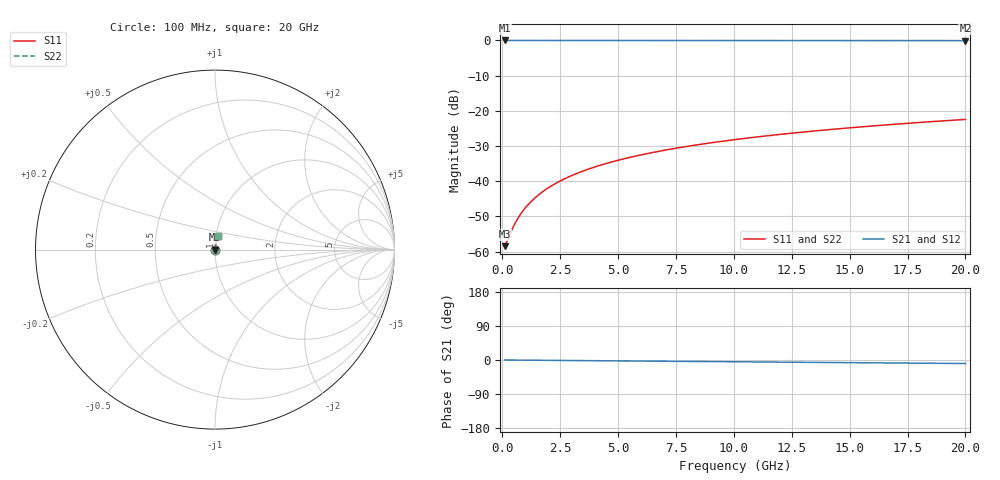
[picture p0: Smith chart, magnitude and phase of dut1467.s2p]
! Touchstone file exported from HFSS 2026.1.0
!  File:  C:/ffzhzh/LocalFiles/Ansys_Project_Files/temp_train_TSV_1467_1783198264_55132.aedt
!  Generated:  04:53:11 AM Jul  5, 2026
!  Design:  TSV
!  Project:  temp_train_TSV_1467_1783198264_55132
! Variables:
!  h_bsmrdl = 2um
!  h_ox = 20um
!  h_rdl = 5um
!  h_sub = 85.99um
!  h_tmrdl = 5um
!  h_tsv = 85.99um
!  h_via = 3um
!  l_bsmrdl = 300um
!  l_sub = 405.98um
!  l_tmrdl = 200um
!  m_sub = 200um
!  pitch = 27.12um
!  r_tsv = 2.99um
!  s_tmrdl = 10um
!  w_bsmrdl = 18um
!  w_sub = 500um
!  w_tmrdl = 12um
!  x_tsv_center1 = 206um
!  x_tsv_center2 = 524um
!  x_tsv_center3 = 736um
!  x_tsv_center4 = 1054um
!  x_tsv_center5 = 1266um
!  x_tsv_center6 = 1584um
# GHz S MA R 50.000000
! Terminal data exported
! Port[1] = TSV1_1_T1
! Port[2] = TSV1_1_T2
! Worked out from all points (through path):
!   200 points, 100 MHz to 20 GHz, reference 50 ohm
!   highest |S21| = -0.01 dB at 100 MHz (marker M1); lowest = -0.1 dB at 20 GHz (marker M2)
!   group delay of S21, straight-line fit = 1.29 ps
!   lowest |S11| = -58.5 dB at 100 MHz (marker M3), VSWR 1.00, Z = 50.1 + j0.0414 ohm
!   |S11| at or under -10 dB: start of sweep to end of sweep
!   |S22| runs from -58.5 to -22.4 dB; largest |S21 - S12| = 3.3e-15
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0.1  0.001194 20.2  0.9989 -0.0  0.9989 -0.0  0.001194 20.2
! Gamma 0 0 0 0
! Port Impedance 50 0 50 0
0.2  0.001398 36.1  0.9989 -0.1  0.9989 -0.1  0.001398 36.1
0.4  0.001997 54.7  0.9988 -0.2  0.9988 -0.2  0.001997 54.7
0.5  0.00234 60.1  0.9988 -0.2  0.9988 -0.2  0.00234 60.1
0.7  0.003064 67.1  0.9988 -0.3  0.9988 -0.3  0.003064 67.1
0.8  0.003438 69.5  0.9988 -0.4  0.9988 -0.4  0.003438 69.5
1  0.004197 73.0  0.9988 -0.5  0.9988 -0.5  0.004197 73.0
1.3  0.005357 76.3  0.9988 -0.6  0.9988 -0.6  0.005357 76.3
1.7  0.00692 78.8  0.9987 -0.8  0.9987 -0.8  0.00692 78.8
2.2  0.008886 80.6  0.9987 -1.1  0.9987 -1.1  0.008886 80.6
2.8  0.01125 81.7  0.9986 -1.3  0.9986 -1.3  0.01125 81.7
3.5  0.014 82.4  0.9985 -1.7  0.9985 -1.7  0.014 82.4
4.2  0.01673 82.7  0.9983 -2.0  0.9983 -2.0  0.01673 82.7
5  0.01984 82.8  0.9981 -2.4  0.9981 -2.4  0.01984 82.8
5.9  0.02332 82.7  0.9979 -2.8  0.9979 -2.8  0.02332 82.7
6.8  0.02676 82.5  0.9977 -3.2  0.9977 -3.2  0.02676 82.5
8.3  0.03245 82.1  0.9972 -3.9  0.9972 -3.9  0.03245 82.1
10.1  0.03921 81.6  0.9967 -4.8  0.9967 -4.8  0.03921 81.6
11.7  0.04515 81.0  0.9962 -5.5  0.9962 -5.5  0.04515 81.0
13.4  0.05143 80.4  0.9957 -6.3  0.9957 -6.3  0.05143 80.4
16.7  0.06352 79.2  0.9946 -7.8  0.9946 -7.8  0.06352 79.2
20  0.0755 77.9  0.9935 -9.3  0.9935 -9.3  0.0755 77.9
